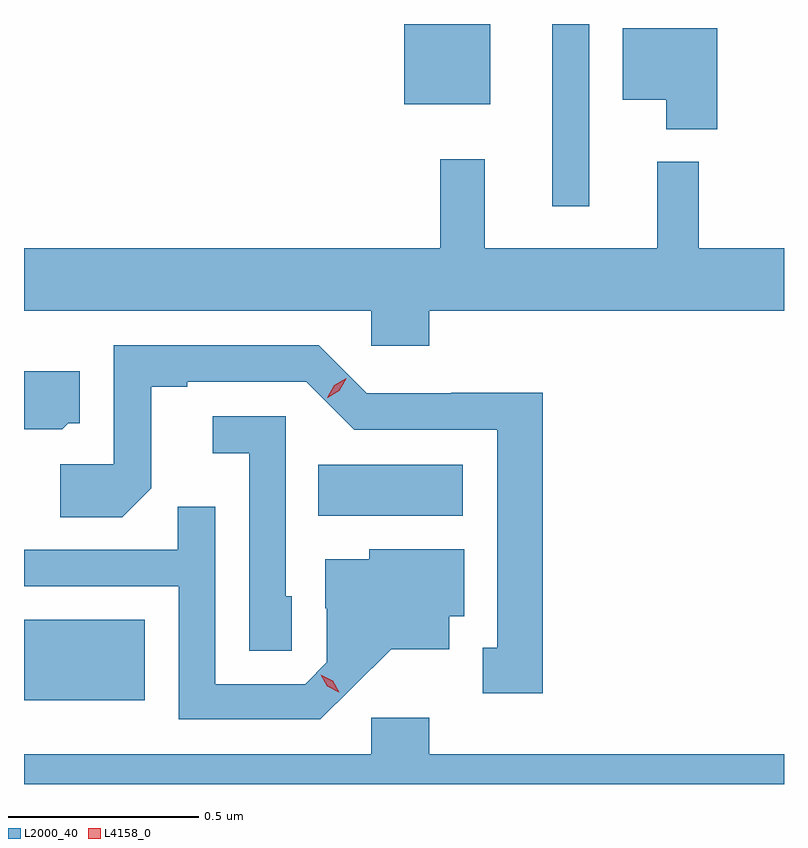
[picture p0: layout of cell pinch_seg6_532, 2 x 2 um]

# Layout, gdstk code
import gdstk
lib = gdstk.Library(unit=1e-6, precision=1e-09)
def R(c, l, rs):  # rectangles x0, y0, x1, y1
    for r in rs: c.add(gdstk.rectangle(r[:2], r[2:], *l))
def P(c, l, *ps):  # polygons
    for p in ps: c.add(gdstk.Polygon(p, *l))
L2000_40 = (2000, 40)
L4158_0 = (4158, 0)

pinch_seg6_532 = lib.new_cell('pinch_seg6_532')
R(pinch_seg6_532, L2000_40, [(759.082,938.318,759.4,938.53), (759.856,938.804,760.237,938.938), (760.472,939.618,760.569,940.098), (760.082,939.887,760.309,940.098)])
P(pinch_seg6_532, L2000_40, [(760.906,940.087),(760.658,940.087),(760.658,939.899),(760.772,939.899),(760.772,939.821),(760.906,939.821)],
  [(760.148,939.344),(761.082,939.344),(761.082,939.508),(760.858,939.508),(760.858,939.736),(760.748,939.736),(760.748,939.508),(760.295,939.508),(760.295,939.742),(760.177,939.742),(760.177,939.508),(759.082,939.508),(759.082,939.344),(759.996,939.344),(759.996,939.251),(760.148,939.251)],
  [(760.447,939.128),(760.206,939.128),(760.206,939.126),(759.984,939.126),(759.858,939.252),(759.318,939.252),(759.318,938.94),(759.177,938.94),(759.177,938.8),(759.341,938.8),(759.417,938.876),(759.417,939.144),(759.511,939.144),(759.511,939.156),(759.825,939.156),(759.951,939.03),(760.328,939.03),(760.328,938.457),(760.289,938.457),(760.289,938.337),(760.447,938.337)],
  [(759.198,939.048),(759.229,939.048),(759.229,939.184),(759.082,939.184),(759.082,939.032),(759.182,939.032)],
  [(759.786,938.592),(759.771,938.592),(759.771,939.066),(759.579,939.066),(759.579,938.969),(759.675,938.969),(759.675,938.449),(759.786,938.449)],
  [(759.946,938.351),(760.049,938.453),(760.201,938.453),(760.201,938.54),(760.24,938.54),(760.24,938.716),(759.99,938.716),(759.99,938.689),(759.875,938.689),(759.875,938.56),(759.879,938.56),(759.879,938.418),(759.822,938.361),(759.585,938.361),(759.585,938.828),(759.487,938.828),(759.487,938.715),(759.082,938.715),(759.082,938.619),(759.489,938.619),(759.489,938.268),(759.862,938.268)],
  [(761.082,938.176),(760.148,938.176),(760.148,938.272),(759.996,938.272),(759.996,938.176),(759.082,938.176),(759.082,938.098),(761.082,938.098)])
P(pinch_seg6_532, L4158_0, [(759.88,939.114),(759.88,939.114),(759.898,939.147),(759.93,939.166),(759.93,939.166),(759.93,939.165),(759.912,939.133),(759.881,939.114)],
  [(759.91,938.34),(759.88,938.355),(759.863,938.385),(759.863,938.385),(759.863,938.385),(759.894,938.37),(759.911,938.34),(759.911,938.34)])

lib.write_gds('pinch_seg6_532.gds')
